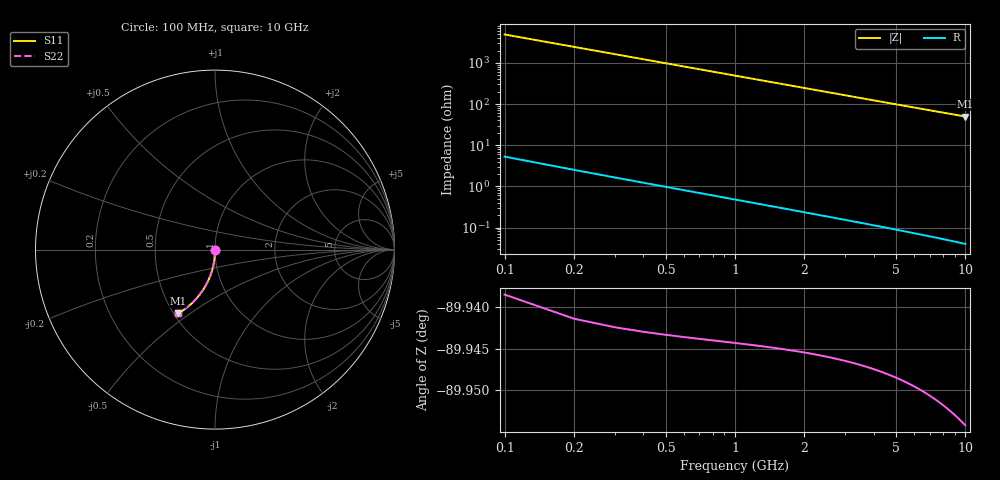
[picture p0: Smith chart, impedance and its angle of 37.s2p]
# Hz S RI R 50.00
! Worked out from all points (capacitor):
!   100 points, 100 MHz to 10 GHz, reference 50 ohm
!   read as one part in shunt: C = 323 fF near 100 MHz
!   lowest |Z| = 49.9 ohm at 10 GHz (marker M1)
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1e8  0.000373 -0.00457  0.9996 -0.00557  0.9996 -0.00557  0.000373 -0.00457
2e8  0.000294 -0.00915  0.9995 -0.0111  0.9995 -0.0111  0.000294 -0.00915
3e8  0.000164 -0.0137  0.9993 -0.0167  0.9993 -0.0167  0.000164 -0.0137
4e8  -1.8e-05 -0.0183  0.9992 -0.0223  0.9992 -0.0223  -1.8e-05 -0.0183
5e8  -0.000251 -0.0229  0.9989 -0.0278  0.9989 -0.0278  -0.000251 -0.0229
6e8  -0.000534 -0.0274  0.9986 -0.0334  0.9986 -0.0334  -0.000534 -0.0274
7e8  -0.000869 -0.032  0.9983 -0.0389  0.9983 -0.0389  -0.000869 -0.032
8e8  -0.00125 -0.0365  0.9979 -0.0445  0.9979 -0.0445  -0.00125 -0.0365
9e8  -0.00169 -0.0411  0.9974 -0.05  0.9974 -0.05  -0.00169 -0.0411
1.1e9  -0.00271 -0.0502  0.9964 -0.0611  0.9964 -0.0611  -0.00271 -0.0502
1.4e9  -0.00462 -0.0637  0.9944 -0.0776  0.9944 -0.0776  -0.00462 -0.0637
1.8e9  -0.00786 -0.0816  0.9911 -0.0995  0.9911 -0.0995  -0.00786 -0.0816
2.1e9  -0.0108 -0.0949  0.9881 -0.1158  0.9881 -0.1158  -0.0108 -0.0949
2.5e9  -0.0154 -0.1125  0.9834 -0.1374  0.9834 -0.1374  -0.0154 -0.1125
2.9e9  -0.0207 -0.1297  0.978 -0.1586  0.978 -0.1586  -0.0207 -0.1297
3.4e9  -0.0284 -0.1508  0.9701 -0.1847  0.9701 -0.1847  -0.0284 -0.1508
4.2e9  -0.043 -0.1833  0.9553 -0.2252  0.9553 -0.2252  -0.043 -0.1833
5.1e9  -0.0623 -0.2177  0.9355 -0.2686  0.9355 -0.2686  -0.0623 -0.2177
5.9e9  -0.0819 -0.2462  0.9155 -0.3051  0.9155 -0.3051  -0.0819 -0.2462
6.7e9  -0.1034 -0.2725  0.8934 -0.3395  0.8934 -0.3395  -0.1034 -0.2725
8.4e9  -0.1542 -0.3207  0.8413 -0.4048  0.8413 -0.4048  -0.1542 -0.3207
1e10  -0.2062 -0.356  0.7878 -0.4564  0.7878 -0.4564  -0.2062 -0.356
